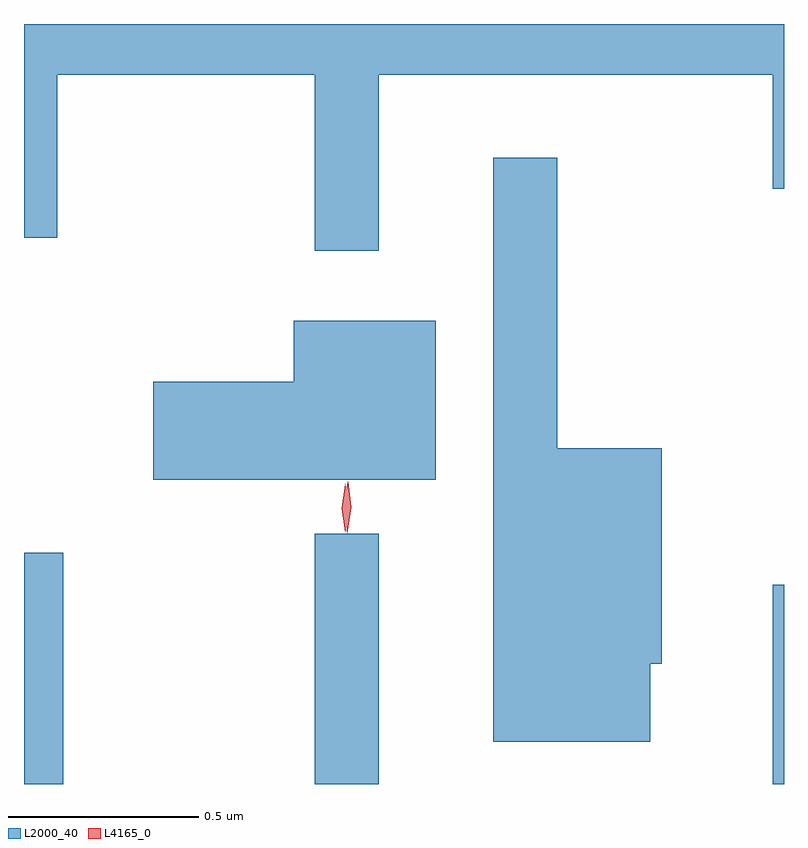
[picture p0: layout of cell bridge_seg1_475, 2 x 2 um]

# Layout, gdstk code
import gdstk
lib = gdstk.Library(unit=1e-6, precision=1e-09)
def R(c, l, rs):  # rectangles x0, y0, x1, y1
    for r in rs: c.add(gdstk.rectangle(r[:2], r[2:], *l))
def P(c, l, *ps):  # polygons
    for p in ps: c.add(gdstk.Polygon(p, *l))
L2000_40 = (2000, 40)
L4165_0 = (4165, 0)

bridge_seg1_475 = lib.new_cell('bridge_seg1_475')
R(bridge_seg1_475, L2000_40, [(233.086,857.75,233.189,858.359), (233.851,857.75,234.019,858.408), (235.056,857.75,235.086,858.274)])
P(bridge_seg1_475, L2000_40, [(234.019,859.616),(235.056,859.616),(235.056,859.316),(235.086,859.316),(235.086,859.75),(233.086,859.75),(233.086,859.188),(233.174,859.188),(233.174,859.616),(233.851,859.616),(233.851,859.153),(234.019,859.153)],
  [(234.734,858.066),(234.764,858.066),(234.764,858.634),(234.489,858.634),(234.489,859.398),(234.321,859.398),(234.321,857.861),(234.734,857.861)],
  [(234.169,858.969),(233.796,858.969),(233.796,858.809),(233.426,858.809),(233.426,858.551),(234.169,858.551)])
P(bridge_seg1_475, L4165_0, [(233.931,858.413),(233.922,858.476),(233.931,858.539),(233.932,858.54),(233.932,858.539),(233.942,858.476),(233.932,858.413),(233.932,858.413)],
  [(233.936,858.41),(233.927,858.478),(233.938,858.546),(233.938,858.546),(233.939,858.546),(233.947,858.478),(233.937,858.41),(233.937,858.41)])

lib.write_gds('bridge_seg1_475.gds')
